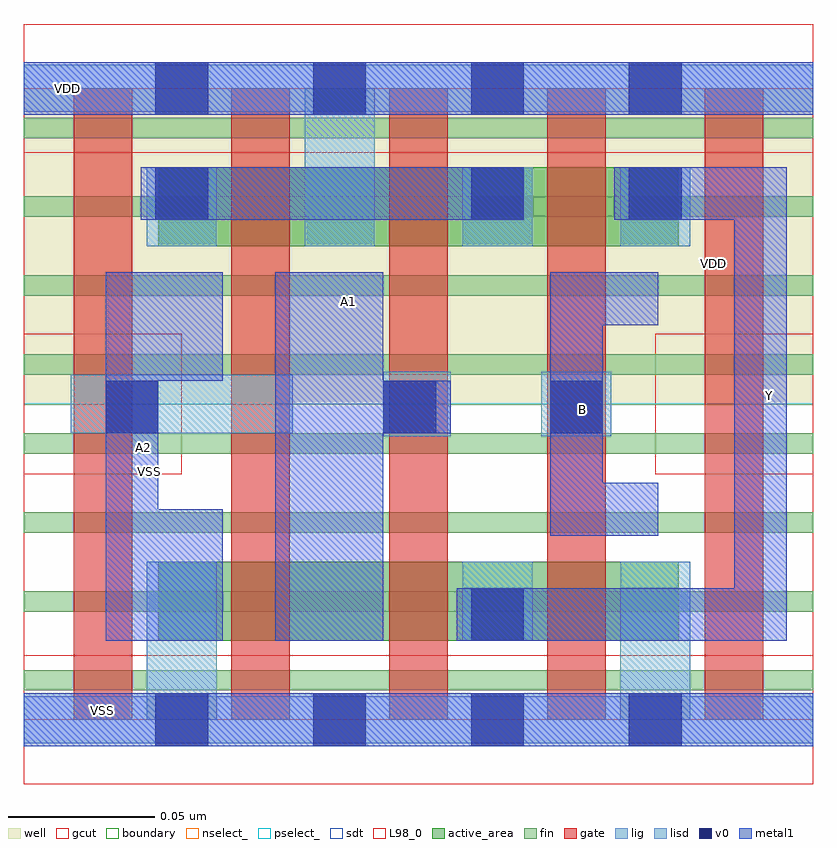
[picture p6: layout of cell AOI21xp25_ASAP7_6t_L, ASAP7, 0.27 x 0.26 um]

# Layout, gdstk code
import gdstk
lib = gdstk.Library(unit=1e-6, precision=2.5e-10)
def R(c, l, rs):  # rectangles x0, y0, x1, y1
    for r in rs: c.add(gdstk.rectangle(r[:2], r[2:], *l))
def A(c, l, x, y, w, h, nx, ny, dx, dy):  # array of equal rectangles
    R(c, l, [(x+i*dx, y+j*dy, x+i*dx+w, y+j*dy+h) for i in range(nx) for j in range(ny)])
def P(c, l, *ps):  # polygons
    for p in ps: c.add(gdstk.Polygon(p, *l))
well = (1, 0)
fin = (2, 0)
gate = (7, 0)
gcut = (10, 0)
active_area = (11, 0)
nselect_ = (12, 0)
pselect_ = (13, 0)
lig = (16, 0)
lisd = (17, 0)
v0 = (18, 0)
metal1 = (19, 0)
sdt = (88, 0)
L98_0 = (98, 0)
boundary = (100, 0)

aoi21xp25_asap7_6t_l = lib.new_cell('AOI21xp25_ASAP7_6t_L')
R(aoi21xp25_asap7_6t_l, well, [(0,0.108,0.27,0.216)])
A(aoi21xp25_asap7_6t_l, fin, 0, 0.01, 0.27, 0.007, 1, 8, 0, 0.027)
A(aoi21xp25_asap7_6t_l, gate, 0.017, 0, 0.02, 0.216, 5, 1, 0.054, 0)
R(aoi21xp25_asap7_6t_l, gcut, [(0,-0.022,0.27,0.022), (0,0.084,0.054,0.132), (0.216,0.084,0.27,0.132), (0,0.194,0.27,0.238)])
R(aoi21xp25_asap7_6t_l, active_area, [(0.046,0.027,0.224,0.054), (0.046,0.162,0.224,0.189)])
R(aoi21xp25_asap7_6t_l, nselect_, [(0,0,0.27,0.108)])
R(aoi21xp25_asap7_6t_l, pselect_, [(0,0.108,0.27,0.216)])
R(aoi21xp25_asap7_6t_l, lig, [(0,-0.008,0.27,0.008), (0.123,0.097,0.146,0.119), (0.177,0.097,0.201,0.119), (0.016,0.098,0.092,0.118), (0,0.208,0.27,0.224)])
R(aoi21xp25_asap7_6t_l, lisd, [(0.042,0,0.066,0.054), (0.204,0,0.228,0.054), (0.15,0.027,0.174,0.054), (0.042,0.162,0.066,0.189), (0.096,0.162,0.12,0.216), (0.15,0.162,0.174,0.189), (0.204,0.162,0.228,0.189)])
A(aoi21xp25_asap7_6t_l, v0, 0.045, -0.009, 0.018, 0.018, 4, 2, 0.054, 0.216)
R(aoi21xp25_asap7_6t_l, v0, [(0.153,0.027,0.171,0.045), (0.028,0.098,0.046,0.116), (0.123,0.098,0.141,0.116), (0.18,0.098,0.198,0.116), (0.045,0.171,0.063,0.189), (0.153,0.171,0.171,0.189), (0.207,0.171,0.225,0.189)])
R(aoi21xp25_asap7_6t_l, metal1, [(0,-0.009,0.27,0.009), (0.04,0.171,0.171,0.189), (0,0.207,0.27,0.225)])
P(aoi21xp25_asap7_6t_l, metal1, [(0.046,0.072),(0.068,0.072),(0.068,0.027),(0.028,0.027),(0.028,0.153),(0.068,0.153),(0.068,0.116),(0.046,0.116)],
  [(0.146,0.116),(0.123,0.116),(0.123,0.153),(0.086,0.153),(0.086,0.027),(0.123,0.027),(0.123,0.098),(0.146,0.098)],
  [(0.198,0.135),(0.217,0.135),(0.217,0.153),(0.18,0.153),(0.18,0.063),(0.217,0.063),(0.217,0.081),(0.198,0.081)],
  [(0.261,0.189),(0.202,0.189),(0.202,0.171),(0.243,0.171),(0.243,0.045),(0.148,0.045),(0.148,0.027),(0.261,0.027)])
A(aoi21xp25_asap7_6t_l, sdt, 0.042, 0.162, 0.024, 0.027, 4, 1, 0.054, 0)
R(aoi21xp25_asap7_6t_l, sdt, [(0.204,0,0.228,0.054), (0.042,0.027,0.066,0.054), (0.15,0.027,0.174,0.054)])
R(aoi21xp25_asap7_6t_l, L98_0, [(0,0,0.27,0.216)])
R(aoi21xp25_asap7_6t_l, boundary, [(0,0,0.27,0.216)])
aoi21xp25_asap7_6t_l.add(gdstk.Label('VSS', (0.027,0.003), layer=19, texttype=251))
aoi21xp25_asap7_6t_l.add(gdstk.Label('VDD', (0.015,0.216), layer=19, texttype=251))
aoi21xp25_asap7_6t_l.add(gdstk.Label('Y', (0.255,0.111), layer=19, texttype=251))
aoi21xp25_asap7_6t_l.add(gdstk.Label('B', (0.191,0.106), layer=19, texttype=251))
aoi21xp25_asap7_6t_l.add(gdstk.Label('A1', (0.111,0.143), layer=19, texttype=251))
aoi21xp25_asap7_6t_l.add(gdstk.Label('A2', (0.041,0.093), layer=19, texttype=251))
aoi21xp25_asap7_6t_l.add(gdstk.Label('VDD', (0.236,0.156), layer=1, texttype=251))
aoi21xp25_asap7_6t_l.add(gdstk.Label('VSS', (0.043,0.085), layer=3, texttype=251))

lib.write_gds('AOI21xp25_ASAP7_6t_L.gds')
